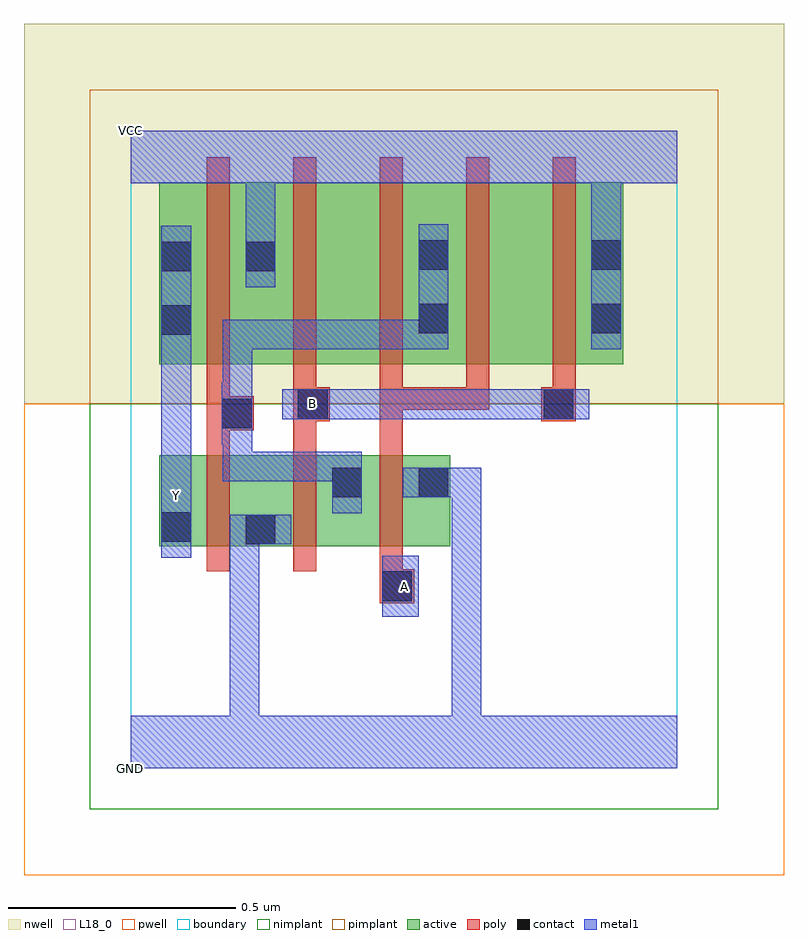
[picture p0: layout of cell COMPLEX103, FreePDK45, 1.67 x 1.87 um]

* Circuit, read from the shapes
.subckt COMPLEX103 A B GND VCC Y
M1 GND n1 Y VSUBS nfet w=0.2u l=0.05u
M2 n1 B GND VSUBS nfet w=0.2u l=0.05u
M3 GND A n1 VSUBS nfet w=0.2u l=0.05u
M4 VCC n1 Y n2 pfet w=0.4u l=0.05u
M5 n3 B VCC n2 pfet w=0.4u l=0.05u
M6 n1 A n3 n2 pfet w=0.4u l=0.05u
M7 n4 A n1 n2 pfet w=0.4u l=0.05u
M8 VCC B n4 n2 pfet w=0.4u l=0.05u
.ends

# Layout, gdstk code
import gdstk
lib = gdstk.Library(unit=1e-6, precision=1e-09)
def R(c, l, rs):  # rectangles x0, y0, x1, y1
    for r in rs: c.add(gdstk.rectangle(r[:2], r[2:], *l))
def A(c, l, x, y, w, h, nx, ny, dx, dy):  # array of equal rectangles
    R(c, l, [(x+i*dx, y+j*dy, x+i*dx+w, y+j*dy+h) for i in range(nx) for j in range(ny)])
active = (1, 0)
pwell = (2, 0)
nwell = (3, 0)
nimplant = (4, 0)
pimplant = (5, 0)
poly = (9, 0)
contact = (10, 0)
metal1 = (11, 0)
L18_0 = (18, 0)
boundary = (235, 0)

complex103 = lib.new_cell('COMPLEX103')
R(complex103, active, [(0.062,0.487,0.137,0.687), (0.062,0.487,0.322,0.687), (0.247,0.487,0.512,0.687), (0.247,0.487,0.322,0.597), (0.437,0.487,0.702,0.687), (0.437,0.487,0.512,0.665), (0.627,0.487,0.702,0.687), (0.062,0.887,0.322,1.287), (0.062,0.887,0.137,1.2), (0.247,0.887,0.477,1.287), (0.477,0.887,0.702,1.287), (0.627,0.887,0.857,1.287), (0.857,0.887,1.082,1.287), (1.007,0.887,1.082,1.255), (0.247,0.907,0.322,1.255), (0.627,0.907,0.702,1.2)])
R(complex103, pwell, [(-0.235,-0.235,1.435,0.8)])
R(complex103, nwell, [(-0.235,0.8,1.435,1.635)])
R(complex103, nimplant, [(-0.09,-0.09,1.29,0.8)])
R(complex103, pimplant, [(-0.09,0.8,1.29,1.49)])
A(complex103, poly, 0.167, 0.432, 0.05, 0.31, 3, 1, 0.19, 0)
A(complex103, poly, 0.357, 0.787, 0.05, 0.095, 4, 1, 0.19, 0)
A(complex103, poly, 0.167, 0.832, 0.05, 0.51, 5, 1, 0.19, 0)
R(complex103, poly, [(0.547,0.362,0.622,0.437), (0.547,0.387,0.597,0.482), (0.167,0.692,0.217,0.792), (0.357,0.692,0.407,0.812), (0.547,0.692,0.597,0.837), (0.167,0.742,0.27,0.817), (0.357,0.762,0.437,0.837), (0.902,0.762,0.977,0.837), (0.167,0.767,0.217,0.882), (0.547,0.787,0.597,0.837), (0.547,0.787,0.787,0.837), (0.737,0.787,0.787,0.837), (0.737,0.787,0.787,0.837), (0.737,0.787,0.787,0.837)])
R(complex103, contact, [(0.552,0.367,0.617,0.432), (0.252,0.492,0.317,0.557), (0.067,0.497,0.132,0.562), (0.442,0.595,0.507,0.66), (0.632,0.595,0.697,0.66), (0.2,0.747,0.265,0.812), (0.367,0.767,0.432,0.832), (0.907,0.767,0.972,0.832), (0.067,0.952,0.132,1.017), (0.632,0.955,0.697,1.02), (1.012,0.955,1.077,1.02), (0.067,1.092,0.132,1.157), (0.252,1.092,0.317,1.157), (0.632,1.095,0.697,1.16), (1.012,1.095,1.077,1.16)])
R(complex103, metal1, [(0,0,1.2,0.115), (0.217,0.05,0.282,0.557), (0.705,0.05,0.77,0.115), (0.705,0.05,0.77,0.115), (0.705,0.05,0.77,0.115), (0.705,0.05,0.77,0.115), (0.705,0.05,0.77,0.115), (0.705,0.05,0.77,0.115), (0.705,0.05,0.77,0.66), (0.552,0.332,0.632,0.467), (0.067,0.462,0.132,0.597), (0.217,0.492,0.282,0.557), (0.217,0.492,0.282,0.557), (0.217,0.492,0.282,0.557), (0.217,0.492,0.282,0.557), (0.217,0.492,0.282,0.557), (0.217,0.492,0.282,0.557), (0.217,0.492,0.282,0.557), (0.217,0.492,0.282,0.557), (0.217,0.492,0.352,0.557), (0.067,0.532,0.132,0.597), (0.067,0.532,0.132,0.667), (0.442,0.56,0.507,0.695), (0.597,0.595,0.77,0.66), (0.705,0.595,0.77,0.66), (0.705,0.595,0.77,0.66), (0.067,0.602,0.132,0.982), (0.202,0.63,0.267,0.695), (0.202,0.63,0.467,0.695), (0.202,0.63,0.267,0.777), (0.402,0.63,0.467,0.695), (0.402,0.63,0.507,0.695), (0.2,0.712,0.265,0.777), (0.2,0.712,0.265,0.847), (0.2,0.712,0.267,0.777), (0.202,0.712,0.267,0.985), (0.332,0.767,0.467,0.832), (0.402,0.767,0.467,0.832), (0.402,0.767,0.467,0.832), (0.402,0.767,0.605,0.832), (0.54,0.767,0.605,0.832), (0.54,0.767,0.605,0.832), (0.54,0.767,0.605,0.832), (0.54,0.767,0.8,0.832), (0.735,0.767,0.8,0.832), (0.735,0.767,0.937,0.832), (0.872,0.767,0.937,0.832), (0.872,0.767,0.937,0.832), (0.872,0.767,1.007,0.832), (0.067,0.917,0.132,1.192), (0.202,0.92,0.267,0.985), (0.202,0.92,0.467,0.985), (0.402,0.92,0.467,0.985), (0.402,0.92,0.467,0.985), (0.402,0.92,0.467,0.985), (0.402,0.92,0.605,0.985), (0.54,0.92,0.605,0.985), (0.54,0.92,0.697,0.985), (0.632,0.92,0.697,1.195), (1.012,0.92,1.077,1.195), (0.252,1.057,0.317,1.192), (0.252,1.127,0.317,1.35), (1.012,1.13,1.077,1.35), (0,1.285,1.2,1.4)])
R(complex103, L18_0, [(0,0,1.2,0.115), (0.217,0.05,0.282,0.557), (0.705,0.05,0.77,0.115), (0.705,0.05,0.77,0.115), (0.705,0.05,0.77,0.115), (0.705,0.05,0.77,0.115), (0.705,0.05,0.77,0.115), (0.705,0.05,0.77,0.115), (0.705,0.05,0.77,0.66), (0.552,0.332,0.632,0.467), (0.567,0.367,0.632,0.432), (0.067,0.462,0.132,0.597), (0.217,0.492,0.282,0.557), (0.217,0.492,0.282,0.557), (0.217,0.492,0.282,0.557), (0.217,0.492,0.282,0.557), (0.217,0.492,0.282,0.557), (0.217,0.492,0.282,0.557), (0.217,0.492,0.282,0.557), (0.217,0.492,0.282,0.557), (0.217,0.492,0.352,0.557), (0.067,0.532,0.132,0.667), (0.067,0.532,0.132,0.597), (0.067,0.567,0.132,0.632), (0.597,0.595,0.77,0.66), (0.705,0.595,0.77,0.66), (0.705,0.595,0.77,0.66), (0.067,0.602,0.132,0.982), (0.332,0.767,0.467,0.832), (0.367,0.767,0.432,0.832), (0.402,0.767,0.467,0.832), (0.402,0.767,0.467,0.832), (0.402,0.767,0.605,0.832), (0.54,0.767,0.605,0.832), (0.54,0.767,0.605,0.832), (0.54,0.767,0.605,0.832), (0.54,0.767,0.8,0.832), (0.735,0.767,0.8,0.832), (0.735,0.767,0.937,0.832), (0.872,0.767,0.937,0.832), (0.872,0.767,0.937,0.832), (0.872,0.767,1.007,0.832), (0.067,0.917,0.132,1.192), (1.012,0.92,1.077,1.195), (0.252,1.057,0.317,1.192), (0.252,1.127,0.317,1.35), (1.012,1.13,1.077,1.35), (0,1.285,1.2,1.4)])
R(complex103, boundary, [(0,0,1.2,1.4)])
complex103.add(gdstk.Label('A', (0.6,0.4), layer=11, texttype=0))
complex103.add(gdstk.Label('B', (0.4,0.8), layer=11, texttype=0))
complex103.add(gdstk.Label('Y', (0.1,0.6), layer=11, texttype=0))
complex103.add(gdstk.Label('VCC', (0,1.4), layer=11, texttype=0))
complex103.add(gdstk.Label('GND', (0,0), layer=11, texttype=0))

lib.write_gds('COMPLEX103.gds')
